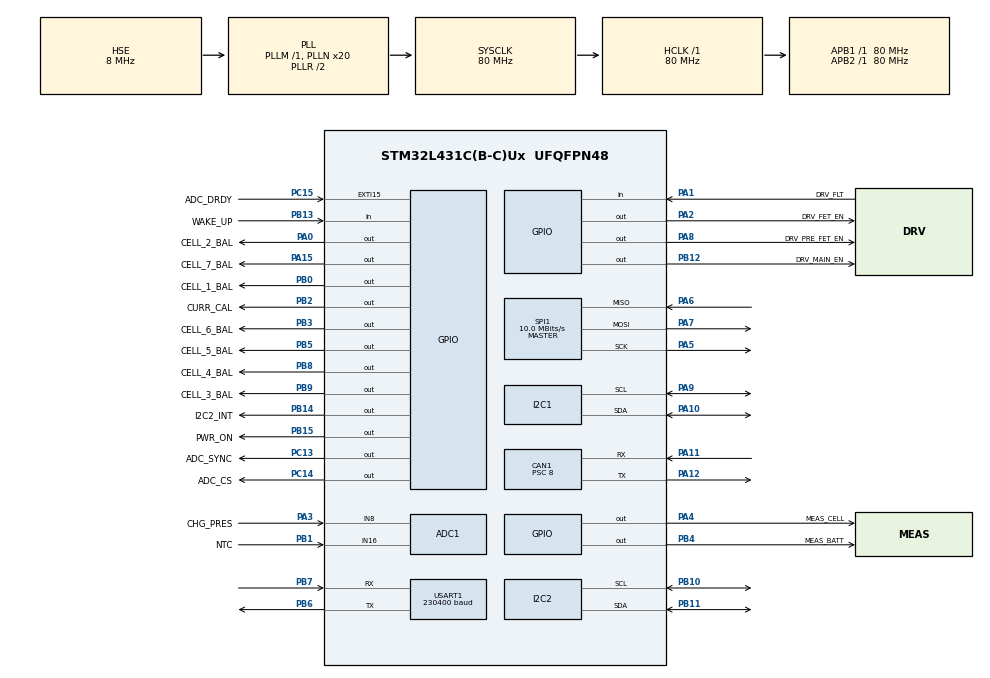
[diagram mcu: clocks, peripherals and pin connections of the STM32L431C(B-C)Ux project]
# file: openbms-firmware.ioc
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ADC1.Channel-3\#ChannelRegularConversion=ADC_CHANNEL_16
ADC1.Channel-4\#ChannelRegularConversion=ADC_CHANNEL_VREFINT
ADC1.Channel-5\#ChannelRegularConversion=ADC_CHANNEL_TEMPSENSOR
ADC1.Channel-6\#ChannelRegularConversion=ADC_CHANNEL_8
ADC1.ClockPrescaler=ADC_CLOCK_ASYNC_DIV32
ADC1.ContinuousConvMode=ENABLE
ADC1.DMAContinuousRequests=ENABLE
ADC1.EOCSelection=ADC_EOC_SINGLE_CONV
ADC1.EnableRegularConversion=ENABLE
ADC1.NbrOfConversion=4
ADC1.NbrOfConversionFlag=1
ADC1.OffsetNumber-3\#ChannelRegularConversion=ADC_OFFSET_NONE
ADC1.OffsetNumber-4\#ChannelRegularConversion=ADC_OFFSET_NONE
ADC1.OffsetNumber-5\#ChannelRegularConversion=ADC_OFFSET_NONE
ADC1.OffsetNumber-6\#ChannelRegularConversion=ADC_OFFSET_NONE
ADC1.OversamplingMode=ENABLE
ADC1.Rank-3\#ChannelRegularConversion=1
ADC1.Rank-4\#ChannelRegularConversion=2
ADC1.Rank-5\#ChannelRegularConversion=3
ADC1.Rank-6\#ChannelRegularConversion=4
ADC1.Ratio=ADC_OVERSAMPLING_RATIO_256
ADC1.RightBitShift=ADC_RIGHTBITSHIFT_8
ADC1.SamplingTime-3\#ChannelRegularConversion=ADC_SAMPLETIME_640CYCLES_5
ADC1.SamplingTime-4\#ChannelRegularConversion=ADC_SAMPLETIME_640CYCLES_5
ADC1.SamplingTime-5\#ChannelRegularConversion=ADC_SAMPLETIME_640CYCLES_5
ADC1.SamplingTime-6\#ChannelRegularConversion=ADC_SAMPLETIME_640CYCLES_5
ADC1.master=1
CAN1.ABOM=ENABLE
CAN1.BS1=CAN_BS1_7TQ
CAN1.BS2=CAN_BS2_2TQ
CAN1.CalculateBaudRate=1000000
CAN1.CalculateTimeBit=1000
CAN1.CalculateTimeQuantum=100.0
CAN1.NART=ENABLE
CAN1.Prescaler=8
Dma.ADC1.2.Direction=DMA_PERIPH_TO_MEMORY
Dma.ADC1.2.Instance=DMA1_Channel1
Dma.ADC1.2.MemDataAlignment=DMA_MDATAALIGN_HALFWORD
Dma.ADC1.2.MemInc=DMA_MINC_ENABLE
Dma.ADC1.2.Mode=DMA_CIRCULAR
Dma.ADC1.2.PeriphDataAlignment=DMA_PDATAALIGN_HALFWORD
Dma.ADC1.2.PeriphInc=DMA_PINC_DISABLE
Dma.ADC1.2.Priority=DMA_PRIORITY_LOW
Dma.Request0=USART1_RX
Dma.Request1=USART1_TX
Dma.Request2=ADC1
Dma.USART1_RX.0.Direction=DMA_PERIPH_TO_MEMORY
Dma.USART1_RX.0.Instance=DMA1_Channel5
Dma.USART1_RX.0.MemDataAlignment=DMA_MDATAALIGN_BYTE
Dma.USART1_RX.0.MemInc=DMA_MINC_ENABLE
Dma.USART1_RX.0.Mode=DMA_NORMAL
Dma.USART1_RX.0.PeriphDataAlignment=DMA_PDATAALIGN_BYTE
Dma.USART1_RX.0.PeriphInc=DMA_PINC_DISABLE
Dma.USART1_RX.0.Priority=DMA_PRIORITY_LOW
Dma.USART1_TX.1.Direction=DMA_MEMORY_TO_PERIPH
Dma.USART1_TX.1.Instance=DMA1_Channel4
Dma.USART1_TX.1.MemDataAlignment=DMA_MDATAALIGN_BYTE
Dma.USART1_TX.1.MemInc=DMA_MINC_ENABLE
Dma.USART1_TX.1.Mode=DMA_NORMAL
Dma.USART1_TX.1.PeriphDataAlignment=DMA_PDATAALIGN_BYTE
Dma.USART1_TX.1.PeriphInc=DMA_PINC_DISABLE
Dma.USART1_TX.1.Priority=DMA_PRIORITY_LOW
I2C1.Timing=0x10D19CE4
I2C2.OwnAddress=0x0B
I2C2.Timing=0x10D19CE4
IWDG.Prescaler=IWDG_PRESCALER_16
IWDG.Reload=1999
Mcu.Family=STM32L4
Mcu.Name=STM32L431C(B-C)Ux
Mcu.Package=UFQFPN48
NVIC.ADC1_IRQn=true\:8\:0\:true\:false\:true\:true\:true\:true
NVIC.CAN1_RX0_IRQn=true\:4\:0\:true\:false\:true\:true\:true\:true
NVIC.CAN1_SCE_IRQn=true\:5\:0\:true\:false\:true\:true\:true\:true
NVIC.CAN1_TX_IRQn=true\:4\:0\:true\:false\:true\:true\:true\:true
NVIC.DMA1_Channel1_IRQn=true\:0\:0\:false\:false\:true\:false\:true\:true
NVIC.DMA1_Channel4_IRQn=true\:0\:0\:false\:false\:true\:false\:true\:true
NVIC.DMA1_Channel5_IRQn=true\:0\:0\:false\:false\:true\:false\:true\:true
NVIC.EXTI15_10_IRQn=true\:1\:0\:true\:false\:true\:true\:true\:true
NVIC.I2C1_ER_IRQn=true\:9\:0\:true\:false\:true\:true\:true\:true
NVIC.I2C1_EV_IRQn=true\:9\:0\:true\:false\:true\:true\:true\:true
NVIC.I2C2_ER_IRQn=true\:2\:0\:true\:false\:true\:true\:true\:true
NVIC.I2C2_EV_IRQn=true\:3\:0\:true\:false\:true\:true\:true\:true
NVIC.PriorityGroup=NVIC_PRIORITYGROUP_4
NVIC.TIM7_IRQn=true\:7\:0\:true\:false\:true\:true\:true\:true
NVIC.USART1_IRQn=true\:6\:0\:true\:false\:true\:true\:true\:true
PA0.GPIO_Label=CELL_2_BAL
PA0.Signal=GPIO_Output
PA1.GPIO_Label=DRV_FLT
PA1.GPIO_PuPd=GPIO_PULLUP
PA1.Signal=GPIO_Input
PA10.Mode=I2C
PA10.Signal=I2C1_SDA
PA11.Mode=CAN_Activate
PA11.Signal=CAN1_RX
PA12.Mode=CAN_Activate
PA12.Signal=CAN1_TX
PA15\ (JTDI).GPIO_Label=CELL_7_BAL
PA15\ (JTDI).Signal=GPIO_Output
PA2.GPIO_Label=DRV_FET_EN
PA2.Signal=GPIO_Output
PA3.GPIO_Label=CHG_PRES
PA3.Signal=SharedAnalog_PA3
PA4.GPIO_Label=MEAS_CELL
PA4.Signal=GPIO_Output
PA5.Mode=Full_Duplex_Master
PA5.Signal=SPI1_SCK
PA6.Mode=Full_Duplex_Master
PA6.Signal=SPI1_MISO
PA7.Mode=Full_Duplex_Master
PA7.Signal=SPI1_MOSI
PA8.GPIO_Label=DRV_PRE_FET_EN
PA8.Signal=GPIO_Output
PA9.Mode=I2C
PA9.Signal=I2C1_SCL
PB0.GPIO_Label=CELL_1_BAL
PB0.Signal=GPIO_Output
PB1.GPIO_Label=NTC
PB1.Signal=SharedAnalog_PB1
PB10.Mode=I2C
PB10.Signal=I2C2_SCL
PB11.Mode=I2C
PB11.Signal=I2C2_SDA
PB12.GPIO_Label=DRV_MAIN_EN
PB12.Signal=GPIO_Output
PB13.GPIO_Label=WAKE_UP
PB13.Signal=GPIO_Input
PB14.GPIO_Label=I2C2_INT
PB14.Signal=GPIO_Output
PB15.GPIO_Label=PWR_ON
PB15.PinState=GPIO_PIN_SET
PB15.Signal=GPIO_Output
PB2.GPIO_Label=CURR_CAL
PB2.Signal=GPIO_Output
PB3\ (JTDO-TRACESWO).GPIO_Label=CELL_6_BAL
PB3\ (JTDO-TRACESWO).Signal=GPIO_Output
PB4\ (NJTRST).GPIO_Label=MEAS_BATT
PB4\ (NJTRST).Signal=GPIO_Output
PB5.GPIO_Label=CELL_5_BAL
PB5.Signal=GPIO_Output
PB6.Mode=Asynchronous
PB6.Signal=USART1_TX
PB7.Mode=Asynchronous
PB7.Signal=USART1_RX
PB8.GPIO_Label=CELL_4_BAL
PB8.Signal=GPIO_Output
PB9.GPIO_Label=CELL_3_BAL
PB9.Signal=GPIO_Output
PC13.GPIO_Label=ADC_SYNC
PC13.PinState=GPIO_PIN_SET
PC13.Signal=GPIO_Output
PC14-OSC32_IN\ (PC14).GPIO_Label=ADC_CS
PC14-OSC32_IN\ (PC14).PinState=GPIO_PIN_SET
PC14-OSC32_IN\ (PC14).Signal=GPIO_Output
PC15-OSC32_OUT\ (PC15).GPIO_Label=ADC_DRDY
PC15-OSC32_OUT\ (PC15).GPIO_ModeDefaultEXTI=GPIO_MODE_IT_FALLING
PC15-OSC32_OUT\ (PC15).Signal=GPXTI15
PH0-OSC_IN\ (PH0).Mode=HSE-External-Oscillator
PH0-OSC_IN\ (PH0).Signal=RCC_OSC_IN
PH1-OSC_OUT\ (PH1).Mode=HSE-External-Oscillator
PH1-OSC_OUT\ (PH1).Signal=RCC_OSC_OUT
ProjectManager.HeapSize=0x200
ProjectManager.StackSize=0x400
ProjectManager.TargetToolchain=CMake
RCC.ADCFreq_Value=32000000
RCC.AHBFreq_Value=80000000
RCC.APB1Freq_Value=80000000
RCC.APB1TimFreq_Value=80000000
RCC.APB2Freq_Value=80000000
RCC.APB2TimFreq_Value=80000000
RCC.CortexFreq_Value=80000000
RCC.HCLKFreq_Value=80000000
RCC.HSE_VALUE=8000000
RCC.HSI48_VALUE=48000000
RCC.HSI_VALUE=16000000
RCC.LSE_VALUE=32768
RCC.MSI_VALUE=4000000
RCC.PLLN=20
RCC.PLLSourceVirtual=RCC_PLLSOURCE_HSE
RCC.SYSCLKFreq_VALUE=80000000
RCC.SYSCLKSource=RCC_SYSCLKSOURCE_PLLCLK
RCC.VCOOutputFreq_Value=160000000
SH.SharedAnalog_PA3.0=GPIO_Analog
SH.SharedAnalog_PA3.1=ADC1_IN8,IN8-Single-Ended
SH.SharedAnalog_PB1.0=GPIO_Analog
SH.SharedAnalog_PB1.1=ADC1_IN16,IN16-Single-Ended
SPI1.BaudRatePrescaler=SPI_BAUDRATEPRESCALER_8
SPI1.CLKPhase=SPI_PHASE_2EDGE
SPI1.CalculateBaudRate=10.0 MBits/s
SPI1.DataSize=SPI_DATASIZE_8BIT
SPI1.Direction=SPI_DIRECTION_2LINES
SPI1.Mode=SPI_MODE_MASTER
SPI1.VirtualType=VM_MASTER
TIM7.AutoReloadPreload=TIM_AUTORELOAD_PRELOAD_DISABLE
TIM7.Period=99
TIM7.Prescaler=7999
USART1.BaudRate=230400
USART1.VirtualMode-Asynchronous=VM_ASYNC
VP_ADC1_TempSens_Input.Mode=IN-TempSens
VP_ADC1_Vref_Input.Mode=IN-Vrefint
VP_CRC_VS_CRC.Mode=CRC_Activate
VP_IWDG_VS_IWDG.Mode=IWDG_Activate
VP_TIM7_VS_ClockSourceINT.Mode=Enable_Timer
board=custom

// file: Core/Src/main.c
/* USER CODE BEGIN Header */
/**
  ******************************************************************************
  * @file           : main.c
  * @brief          : Main program body
  ******************************************************************************
  * @attention
  *
  * Copyright (c) 2026 STMicroelectronics.
  * All rights reserved.
  *
  * This software is licensed under terms that can be found in the LICENSE file
  * in the root directory of this software component.
  * If no LICENSE file comes with this software, it is provided AS-IS.
  *
  ******************************************************************************
  */
/* USER CODE END Header */
#include "main.h"

/* USER CODE BEGIN Includes */
#include "openbms_ctrl.h"
#include "openbms_comm.h"
#include "openbms_error.h"
/* USER CODE END Includes */

ADC_HandleTypeDef hadc1;
DMA_HandleTypeDef hdma_adc1;

CAN_HandleTypeDef hcan1;

CRC_HandleTypeDef hcrc;

I2C_HandleTypeDef hi2c1;
I2C_HandleTypeDef hi2c2;

IWDG_HandleTypeDef hiwdg;

SPI_HandleTypeDef hspi1;

TIM_HandleTypeDef htim7;

UART_HandleTypeDef huart1;
DMA_HandleTypeDef hdma_usart1_rx;
DMA_HandleTypeDef hdma_usart1_tx;

/* USER CODE BEGIN PV */
volatile bool     tick_10ms     = false;   // set by the TIM7 interrupt every 10 ms, cleared by the main loop
/* USER CODE END PV */

void SystemClock_Config(void);
static void MX_GPIO_Init(void);
static void MX_DMA_Init(void);
static void MX_ADC1_Init(void);
static void MX_CAN1_Init(void);
static void MX_I2C1_Init(void);
static void MX_I2C2_Init(void);
static void MX_SPI1_Init(void);
static void MX_USART1_UART_Init(void);
static void MX_CRC_Init(void);
static void MX_TIM7_Init(void);
static void MX_IWDG_Init(void);
/* USER CODE BEGIN PFP */
void HAL_TIM_PeriodElapsedCallback(TIM_HandleTypeDef *htim);
/* USER CODE END PFP */

int main(void)
{

  /* USER CODE BEGIN 1 */
  // Be sure to update launch.json and STM32L431XX_FLASH.ld file too
  // Enable interrupts, since they were disabled by the bootloader, and set vector table to the right address
  SCB->VTOR = 0x0800A000;
  __enable_irq();
  /* USER CODE END 1 */

  /* MCU Configuration--------------------------------------------------------*/

  /* Reset of all peripherals, Initializes the Flash interface and the Systick. */
  HAL_Init();

  /* Configure the system clock */
  SystemClock_Config();

  /* Initialize all configured peripherals */
  MX_GPIO_Init();
  MX_DMA_Init();
  MX_ADC1_Init();
  MX_CAN1_Init();
  MX_I2C1_Init();
  MX_I2C2_Init();
  MX_SPI1_Init();
  MX_USART1_UART_Init();
  MX_CRC_Init();
  MX_TIM7_Init();
  MX_IWDG_Init();
  /* USER CODE BEGIN 2 */
  // The watchdog stops while the debugger halts the core, so a breakpoint does not reset the board
  __HAL_DBGMCU_FREEZE_IWDG();

  Comm_Init();
  Ctrl_Init();

  // Tell the host when the last reset came from the watchdog. The reset flags stay set
  // until they are cleared, so they are cleared here for the next reset.
  if(__HAL_RCC_GET_FLAG(RCC_FLAG_IWDGRST))
  {
    Error_Set(OPENBMS_WATCHDOG_RESET);
  }
  __HAL_RCC_CLEAR_RESET_FLAGS();
  /* USER CODE END 2 */

  /* Infinite loop */
  /* USER CODE BEGIN WHILE */
  while (1)
  {
    // The watchdog resets the board when the main loop stops for about 1 s (IWDG prescaler 16, reload 1999)
    HAL_IWDG_Refresh(&hiwdg);

    if(tick_10ms)
    {
      tick_10ms = false;
      Ctrl_Run();
      Comm_Run();
    }
    else
    {
      __WFI();
    }
    /* USER CODE END WHILE */

  }
}

void SystemClock_Config(void)
{
  RCC_OscInitTypeDef RCC_OscInitStruct = {0};
  RCC_ClkInitTypeDef RCC_ClkInitStruct = {0};

  /** Configure the main internal regulator output voltage
  */
  if (HAL_PWREx_ControlVoltageScaling(PWR_REGULATOR_VOLTAGE_SCALE1) != HAL_OK)
  {
    Error_Handler();
  }

  /** Initializes the RCC Oscillators according to the specified parameters
  * in the RCC_OscInitTypeDef structure.
  */
  RCC_OscInitStruct.OscillatorType = RCC_OSCILLATORTYPE_LSI|RCC_OSCILLATORTYPE_HSE;
  RCC_OscInitStruct.HSEState = RCC_HSE_ON;
  RCC_OscInitStruct.LSIState = RCC_LSI_ON;
  RCC_OscInitStruct.PLL.PLLState = RCC_PLL_ON;
  RCC_OscInitStruct.PLL.PLLSource = RCC_PLLSOURCE_HSE;
  RCC_OscInitStruct.PLL.PLLM = 1;
  RCC_OscInitStruct.PLL.PLLN = 20;
  RCC_OscInitStruct.PLL.PLLP = RCC_PLLP_DIV7;
  RCC_OscInitStruct.PLL.PLLQ = RCC_PLLQ_DIV2;
  RCC_OscInitStruct.PLL.PLLR = RCC_PLLR_DIV2;
  if (HAL_RCC_OscConfig(&RCC_OscInitStruct) != HAL_OK)
  {
    Error_Handler();
  }

  /** Initializes the CPU, AHB and APB buses clocks
  */
  RCC_ClkInitStruct.ClockType = RCC_CLOCKTYPE_HCLK|RCC_CLOCKTYPE_SYSCLK
                              |RCC_CLOCKTYPE_PCLK1|RCC_CLOCKTYPE_PCLK2;
  RCC_ClkInitStruct.SYSCLKSource = RCC_SYSCLKSOURCE_PLLCLK;
  RCC_ClkInitStruct.AHBCLKDivider = RCC_SYSCLK_DIV1;
  RCC_ClkInitStruct.APB1CLKDivider = RCC_HCLK_DIV1;
  RCC_ClkInitStruct.APB2CLKDivider = RCC_HCLK_DIV1;

  if (HAL_RCC_ClockConfig(&RCC_ClkInitStruct, FLASH_LATENCY_4) != HAL_OK)
  {
    Error_Handler();
  }
}

static void MX_ADC1_Init(void)
{

  ADC_ChannelConfTypeDef sConfig = {0};

  /** Common config
  */
  hadc1.Instance = ADC1;
  hadc1.Init.ClockPrescaler = ADC_CLOCK_ASYNC_DIV32;
  hadc1.Init.Resolution = ADC_RESOLUTION_12B;
  hadc1.Init.DataAlign = ADC_DATAALIGN_RIGHT;
  hadc1.Init.ScanConvMode = ADC_SCAN_ENABLE;
  hadc1.Init.EOCSelection = ADC_EOC_SINGLE_CONV;
  hadc1.Init.LowPowerAutoWait = DISABLE;
  hadc1.Init.ContinuousConvMode = ENABLE;
  hadc1.Init.NbrOfConversion = 4;
  hadc1.Init.DiscontinuousConvMode = DISABLE;
  hadc1.Init.ExternalTrigConv = ADC_SOFTWARE_START;
  hadc1.Init.ExternalTrigConvEdge = ADC_EXTERNALTRIGCONVEDGE_NONE;
  hadc1.Init.DMAContinuousRequests = ENABLE;
  hadc1.Init.Overrun = ADC_OVR_DATA_PRESERVED;
  hadc1.Init.OversamplingMode = ENABLE;
  hadc1.Init.Oversampling.Ratio = ADC_OVERSAMPLING_RATIO_256;
  hadc1.Init.Oversampling.RightBitShift = ADC_RIGHTBITSHIFT_8;
  hadc1.Init.Oversampling.TriggeredMode = ADC_TRIGGEREDMODE_SINGLE_TRIGGER;
  hadc1.Init.Oversampling.OversamplingStopReset = ADC_REGOVERSAMPLING_CONTINUED_MODE;
  if (HAL_ADC_Init(&hadc1) != HAL_OK)
  {
    Error_Handler();
  }

  /** Configure Regular Channel
  */
  sConfig.Channel = ADC_CHANNEL_16;
  sConfig.Rank = ADC_REGULAR_RANK_1;
  sConfig.SamplingTime = ADC_SAMPLETIME_640CYCLES_5;
  sConfig.SingleDiff = ADC_SINGLE_ENDED;
  sConfig.OffsetNumber = ADC_OFFSET_NONE;
  sConfig.Offset = 0;
  if (HAL_ADC_ConfigChannel(&hadc1, &sConfig) != HAL_OK)
  {
    Error_Handler();
  }

  /** Configure Regular Channel
  */
  sConfig.Channel = ADC_CHANNEL_VREFINT;
  sConfig.Rank = ADC_REGULAR_RANK_2;
  if (HAL_ADC_ConfigChannel(&hadc1, &sConfig) != HAL_OK)
  {
    Error_Handler();
  }

  /** Configure Regular Channel
  */
  sConfig.Channel = ADC_CHANNEL_TEMPSENSOR;
  sConfig.Rank = ADC_REGULAR_RANK_3;
  if (HAL_ADC_ConfigChannel(&hadc1, &sConfig) != HAL_OK)
  {
    Error_Handler();
  }

  /** Configure Regular Channel
  */
  sConfig.Channel = ADC_CHANNEL_8;
  sConfig.Rank = ADC_REGULAR_RANK_4;
  if (HAL_ADC_ConfigChannel(&hadc1, &sConfig) != HAL_OK)
  {
    Error_Handler();
  }

}

static void MX_CAN1_Init(void)
{

  hcan1.Instance = CAN1;
  hcan1.Init.Prescaler = 8;
  hcan1.Init.Mode = CAN_MODE_NORMAL;
  hcan1.Init.SyncJumpWidth = CAN_SJW_1TQ;
  hcan1.Init.TimeSeg1 = CAN_BS1_7TQ;
  hcan1.Init.TimeSeg2 = CAN_BS2_2TQ;
  hcan1.Init.TimeTriggeredMode = DISABLE;
  hcan1.Init.AutoBusOff = ENABLE;
  hcan1.Init.AutoWakeUp = DISABLE;
  hcan1.Init.AutoRetransmission = ENABLE;
  hcan1.Init.ReceiveFifoLocked = DISABLE;
  hcan1.Init.TransmitFifoPriority = DISABLE;
  if (HAL_CAN_Init(&hcan1) != HAL_OK)
  {
    Error_Handler();
  }

}

static void MX_CRC_Init(void)
{

  hcrc.Instance = CRC;
  hcrc.Init.DefaultPolynomialUse = DEFAULT_POLYNOMIAL_ENABLE;
  hcrc.Init.DefaultInitValueUse = DEFAULT_INIT_VALUE_ENABLE;
  hcrc.Init.InputDataInversionMode = CRC_INPUTDATA_INVERSION_NONE;
  hcrc.Init.OutputDataInversionMode = CRC_OUTPUTDATA_INVERSION_DISABLE;
  hcrc.InputDataFormat = CRC_INPUTDATA_FORMAT_BYTES;
  if (HAL_CRC_Init(&hcrc) != HAL_OK)
  {
    Error_Handler();
  }

}

static void MX_I2C1_Init(void)
{

  hi2c1.Instance = I2C1;
  hi2c1.Init.Timing = 0x10D19CE4;
  hi2c1.Init.OwnAddress1 = 0;
  hi2c1.Init.AddressingMode = I2C_ADDRESSINGMODE_7BIT;
  hi2c1.Init.DualAddressMode = I2C_DUALADDRESS_DISABLE;
  hi2c1.Init.OwnAddress2 = 0;
  hi2c1.Init.OwnAddress2Masks = I2C_OA2_NOMASK;
  hi2c1.Init.GeneralCallMode = I2C_GENERALCALL_DISABLE;
  hi2c1.Init.NoStretchMode = I2C_NOSTRETCH_DISABLE;
  if (HAL_I2C_Init(&hi2c1) != HAL_OK)
  {
    Error_Handler();
  }

  /** Configure Analogue filter
  */
  if (HAL_I2CEx_ConfigAnalogFilter(&hi2c1, I2C_ANALOGFILTER_ENABLE) != HAL_OK)
  {
    Error_Handler();
  }

  /** Configure Digital filter
  */
  if (HAL_I2CEx_ConfigDigitalFilter(&hi2c1, 0) != HAL_OK)
  {
    Error_Handler();
  }

}

static void MX_I2C2_Init(void)
{

  hi2c2.Instance = I2C2;
  hi2c2.Init.Timing = 0x10D19CE4;
  hi2c2.Init.OwnAddress1 = 22;
  hi2c2.Init.AddressingMode = I2C_ADDRESSINGMODE_7BIT;
  hi2c2.Init.DualAddressMode = I2C_DUALADDRESS_DISABLE;
  hi2c2.Init.OwnAddress2 = 0;
  hi2c2.Init.OwnAddress2Masks = I2C_OA2_NOMASK;
  hi2c2.Init.GeneralCallMode = I2C_GENERALCALL_DISABLE;
  hi2c2.Init.NoStretchMode = I2C_NOSTRETCH_DISABLE;
  if (HAL_I2C_Init(&hi2c2) != HAL_OK)
  {
    Error_Handler();
  }

  /** Configure Analogue filter
  */
  if (HAL_I2CEx_ConfigAnalogFilter(&hi2c2, I2C_ANALOGFILTER_ENABLE) != HAL_OK)
  {
    Error_Handler();
  }

  /** Configure Digital filter
  */
  if (HAL_I2CEx_ConfigDigitalFilter(&hi2c2, 0) != HAL_OK)
  {
    Error_Handler();
  }

}

static void MX_IWDG_Init(void)
{

  hiwdg.Instance = IWDG;
  hiwdg.Init.Prescaler = IWDG_PRESCALER_16;
  hiwdg.Init.Window = 4095;
  hiwdg.Init.Reload = 1999;
  if (HAL_IWDG_Init(&hiwdg) != HAL_OK)
  {
    Error_Handler();
  }

}

static void MX_SPI1_Init(void)
{

  /* SPI1 parameter configuration*/
  hspi1.Instance = SPI1;
  hspi1.Init.Mode = SPI_MODE_MASTER;
  hspi1.Init.Direction = SPI_DIRECTION_2LINES;
  hspi1.Init.DataSize = SPI_DATASIZE_8BIT;
  hspi1.Init.CLKPolarity = SPI_POLARITY_LOW;
  hspi1.Init.CLKPhase = SPI_PHASE_2EDGE;
  hspi1.Init.NSS = SPI_NSS_SOFT;
  hspi1.Init.BaudRatePrescaler = SPI_BAUDRATEPRESCALER_8;
  hspi1.Init.FirstBit = SPI_FIRSTBIT_MSB;
  hspi1.Init.TIMode = SPI_TIMODE_DISABLE;
  hspi1.Init.CRCCalculation = SPI_CRCCALCULATION_DISABLE;
  hspi1.Init.CRCPolynomial = 7;
  hspi1.Init.CRCLength = SPI_CRC_LENGTH_DATASIZE;
  hspi1.Init.NSSPMode = SPI_NSS_PULSE_DISABLE;
  if (HAL_SPI_Init(&hspi1) != HAL_OK)
  {
    Error_Handler();
  }

}

static void MX_TIM7_Init(void)
{

  TIM_MasterConfigTypeDef sMasterConfig = {0};

  htim7.Instance = TIM7;
  htim7.Init.Prescaler = 7999;
  htim7.Init.CounterMode = TIM_COUNTERMODE_UP;
  htim7.Init.Period = 99;
  htim7.Init.AutoReloadPreload = TIM_AUTORELOAD_PRELOAD_DISABLE;
  if (HAL_TIM_Base_Init(&htim7) != HAL_OK)
  {
    Error_Handler();
  }
  sMasterConfig.MasterOutputTrigger = TIM_TRGO_RESET;
  sMasterConfig.MasterSlaveMode = TIM_MASTERSLAVEMODE_DISABLE;
  if (HAL_TIMEx_MasterConfigSynchronization(&htim7, &sMasterConfig) != HAL_OK)
  {
    Error_Handler();
  }

}

static void MX_USART1_UART_Init(void)
{

  huart1.Instance = USART1;
  huart1.Init.BaudRate = 230400;
  huart1.Init.WordLength = UART_WORDLENGTH_8B;
  huart1.Init.StopBits = UART_STOPBITS_1;
  huart1.Init.Parity = UART_PARITY_NONE;
  huart1.Init.Mode = UART_MODE_TX_RX;
  huart1.Init.HwFlowCtl = UART_HWCONTROL_NONE;
  huart1.Init.OverSampling = UART_OVERSAMPLING_16;
  huart1.Init.OneBitSampling = UART_ONE_BIT_SAMPLE_DISABLE;
  huart1.AdvancedInit.AdvFeatureInit = UART_ADVFEATURE_NO_INIT;
  if (HAL_UART_Init(&huart1) != HAL_OK)
  {
    Error_Handler();
  }

}

static void MX_DMA_Init(void)
{

  /* DMA controller clock enable */
  __HAL_RCC_DMA1_CLK_ENABLE();

  /* DMA interrupt init */
  /* DMA1_Channel1_IRQn interrupt configuration */
  HAL_NVIC_SetPriority(DMA1_Channel1_IRQn, 0, 0);
  HAL_NVIC_EnableIRQ(DMA1_Channel1_IRQn);
  /* DMA1_Channel4_IRQn interrupt configuration */
  HAL_NVIC_SetPriority(DMA1_Channel4_IRQn, 0, 0);
  HAL_NVIC_EnableIRQ(DMA1_Channel4_IRQn);
  /* DMA1_Channel5_IRQn interrupt configuration */
  HAL_NVIC_SetPriority(DMA1_Channel5_IRQn, 0, 0);
  HAL_NVIC_EnableIRQ(DMA1_Channel5_IRQn);

}

static void MX_GPIO_Init(void)
{
  GPIO_InitTypeDef GPIO_InitStruct = {0};

  /* GPIO Ports Clock Enable */
  __HAL_RCC_GPIOC_CLK_ENABLE();
  __HAL_RCC_GPIOH_CLK_ENABLE();
  __HAL_RCC_GPIOA_CLK_ENABLE();
  __HAL_RCC_GPIOB_CLK_ENABLE();

  /*Configure GPIO pin Output Level */
  HAL_GPIO_WritePin(GPIOC, ADC_SYNC_Pin|ADC_CS_Pin, GPIO_PIN_SET);

  /*Configure GPIO pin Output Level */
  HAL_GPIO_WritePin(GPIOA, CELL_2_BAL_Pin|DRV_FET_EN_Pin|MEAS_CELL_Pin|DRV_PRE_FET_EN_Pin
                          |CELL_7_BAL_Pin, GPIO_PIN_RESET);

  /*Configure GPIO pin Output Level */
  HAL_GPIO_WritePin(GPIOB, CELL_1_BAL_Pin|CURR_CAL_Pin|DRV_MAIN_EN_Pin|I2C2_INT_Pin
                          |CELL_6_BAL_Pin|MEAS_BATT_Pin|CELL_5_BAL_Pin|CELL_4_BAL_Pin
                          |CELL_3_BAL_Pin, GPIO_PIN_RESET);

  /*Configure GPIO pin Output Level */
  HAL_GPIO_WritePin(PWR_ON_GPIO_Port, PWR_ON_Pin, GPIO_PIN_SET);

  /*Configure GPIO pins : ADC_SYNC_Pin ADC_CS_Pin */
  GPIO_InitStruct.Pin = ADC_SYNC_Pin|ADC_CS_Pin;
  GPIO_InitStruct.Mode = GPIO_MODE_OUTPUT_PP;
  GPIO_InitStruct.Pull = GPIO_NOPULL;
  GPIO_InitStruct.Speed = GPIO_SPEED_FREQ_LOW;
  HAL_GPIO_Init(GPIOC, &GPIO_InitStruct);

  /*Configure GPIO pin : ADC_DRDY_Pin */
  GPIO_InitStruct.Pin = ADC_DRDY_Pin;
  GPIO_InitStruct.Mode = GPIO_MODE_IT_FALLING;
  GPIO_InitStruct.Pull = GPIO_NOPULL;
  HAL_GPIO_Init(ADC_DRDY_GPIO_Port, &GPIO_InitStruct);

  /*Configure GPIO pins : CELL_2_BAL_Pin DRV_FET_EN_Pin MEAS_CELL_Pin DRV_PRE_FET_EN_Pin
                           CELL_7_BAL_Pin */
  GPIO_InitStruct.Pin = CELL_2_BAL_Pin|DRV_FET_EN_Pin|MEAS_CELL_Pin|DRV_PRE_FET_EN_Pin
                          |CELL_7_BAL_Pin;
  GPIO_InitStruct.Mode = GPIO_MODE_OUTPUT_PP;
  GPIO_InitStruct.Pull = GPIO_NOPULL;
  GPIO_InitStruct.Speed = GPIO_SPEED_FREQ_LOW;
  HAL_GPIO_Init(GPIOA, &GPIO_InitStruct);

  /*Configure GPIO pin : DRV_FLT_Pin */
  GPIO_InitStruct.Pin = DRV_FLT_Pin;
  GPIO_InitStruct.Mode = GPIO_MODE_INPUT;
  GPIO_InitStruct.Pull = GPIO_PULLUP;
  HAL_GPIO_Init(DRV_FLT_GPIO_Port, &GPIO_InitStruct);

  /*Configure GPIO pins : CELL_1_BAL_Pin CURR_CAL_Pin DRV_MAIN_EN_Pin I2C2_INT_Pin
                           PWR_ON_Pin CELL_6_BAL_Pin MEAS_BATT_Pin CELL_5_BAL_Pin
                           CELL_4_BAL_Pin CELL_3_BAL_Pin */
  GPIO_InitStruct.Pin = CELL_1_BAL_Pin|CURR_CAL_Pin|DRV_MAIN_EN_Pin|I2C2_INT_Pin
                          |PWR_ON_Pin|CELL_6_BAL_Pin|MEAS_BATT_Pin|CELL_5_BAL_Pin
                          |CELL_4_BAL_Pin|CELL_3_BAL_Pin;
  GPIO_InitStruct.Mode = GPIO_MODE_OUTPUT_PP;
  GPIO_InitStruct.Pull = GPIO_NOPULL;
  GPIO_InitStruct.Speed = GPIO_SPEED_FREQ_LOW;
  HAL_GPIO_Init(GPIOB, &GPIO_InitStruct);

  /*Configure GPIO pin : WAKE_UP_Pin */
  GPIO_InitStruct.Pin = WAKE_UP_Pin;
  GPIO_InitStruct.Mode = GPIO_MODE_INPUT;
  GPIO_InitStruct.Pull = GPIO_NOPULL;
  HAL_GPIO_Init(WAKE_UP_GPIO_Port, &GPIO_InitStruct);

  /* EXTI interrupt init*/
  HAL_NVIC_SetPriority(EXTI15_10_IRQn, 1, 0);
  HAL_NVIC_EnableIRQ(EXTI15_10_IRQn);

  /* USER CODE BEGIN MX_GPIO_Init_2 */
  // ADS131 DRDY stays off until the ADS is configured, Periph_AdsInit enables it
  HAL_NVIC_DisableIRQ(EXTI15_10_IRQn);
  /* USER CODE END MX_GPIO_Init_2 */
}

/* USER CODE BEGIN 4 */
void HAL_TIM_PeriodElapsedCallback(TIM_HandleTypeDef *htim)
{
    if (htim->Instance == TIM7)
    {
        tick_10ms = true;
    }
}
/* USER CODE END 4 */

void Error_Handler(void)
{
  __disable_irq();
  while (1)
  {
  }
}
